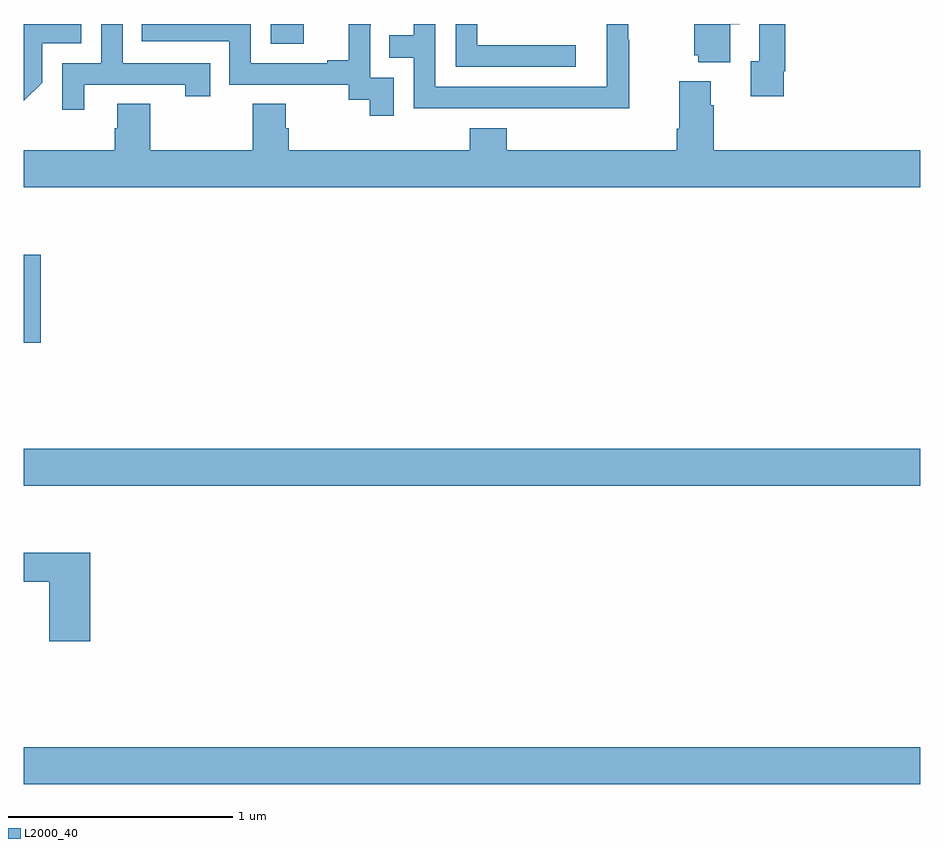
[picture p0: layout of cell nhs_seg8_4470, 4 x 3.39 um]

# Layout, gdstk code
import gdstk
lib = gdstk.Library(unit=1e-6, precision=1e-09)
def R(c, l, rs):  # rectangles x0, y0, x1, y1
    for r in rs: c.add(gdstk.rectangle(r[:2], r[2:], *l))
def P(c, l, *ps):  # polygons
    for p in ps: c.add(gdstk.Polygon(p, *l))
L2000_40 = (2000, 40)

nhs_seg8_4470 = lib.new_cell('nhs_seg8_4470')
R(nhs_seg8_4470, L2000_40, [(383,1108.508,387,1108.672), (383,1109.84,387,1110.004), (383,1110.477,383.075,1110.871), (384.102,1111.812,384.25,1111.9), (385.108,1111.898,385.486,1111.9)])
P(nhs_seg8_4470, L2000_40, [(386.152,1111.898),(386.194,1111.898),(386.194,1111.9),(385.991,1111.9),(385.991,1111.761),(386.009,1111.761),(386.009,1111.73),(386.152,1111.73)],
  [(383.082,1111.638),(383.082,1111.815),(383.256,1111.815),(383.256,1111.9),(383,1111.9),(383,1111.557)],
  [(384.651,1111.659),(384.546,1111.659),(384.546,1111.889),(384.548,1111.889),(384.548,1111.9),(384.449,1111.9),(384.449,1111.738),(384.353,1111.738),(384.353,1111.725),(384.012,1111.725),(384.012,1111.9),(383.527,1111.9),(383.527,1111.824),(383.916,1111.824),(383.916,1111.629),(384.45,1111.629),(384.45,1111.561),(384.543,1111.561),(384.543,1111.491),(384.651,1111.491)],
  [(383.269,1111.629),(383.72,1111.629),(383.72,1111.578),(383.831,1111.578),(383.831,1111.725),(383.442,1111.725),(383.442,1111.9),(383.346,1111.9),(383.346,1111.725),(383.172,1111.725),(383.172,1111.518),(383.269,1111.518)],
  [(386.392,1111.69),(386.399,1111.69),(386.399,1111.9),(386.283,1111.9),(386.283,1111.734),(386.243,1111.734),(386.243,1111.578),(386.392,1111.578)],
  [(385.701,1111.829),(385.698,1111.829),(385.698,1111.9),(385.602,1111.9),(385.602,1111.62),(384.837,1111.62),(384.837,1111.9),(384.741,1111.9),(384.741,1111.85),(384.631,1111.85),(384.631,1111.749),(384.741,1111.749),(384.741,1111.524),(385.237,1111.524),(385.237,1111.523),(385.701,1111.523)],
  [(385.462,1111.806),(385.023,1111.806),(385.023,1111.9),(384.927,1111.9),(384.927,1111.71),(385.462,1111.71)],
  [(387,1111.336),(386.078,1111.336),(386.078,1111.538),(386.065,1111.538),(386.065,1111.645),(385.925,1111.645),(385.925,1111.432),(385.913,1111.432),(385.913,1111.336),(385.154,1111.336),(385.154,1111.435),(384.989,1111.435),(384.989,1111.336),(384.182,1111.336),(384.182,1111.434),(384.169,1111.434),(384.169,1111.544),(384.022,1111.544),(384.022,1111.336),(383.565,1111.336),(383.565,1111.544),(383.417,1111.544),(383.417,1111.434),(383.405,1111.434),(383.405,1111.336),(383,1111.336),(383,1111.172),(387,1111.172)],
  [(383.297,1109.539),(383,1109.539),(383,1109.41),(383.114,1109.41),(383.114,1109.145),(383.297,1109.145)])

lib.write_gds('nhs_seg8_4470.gds')
